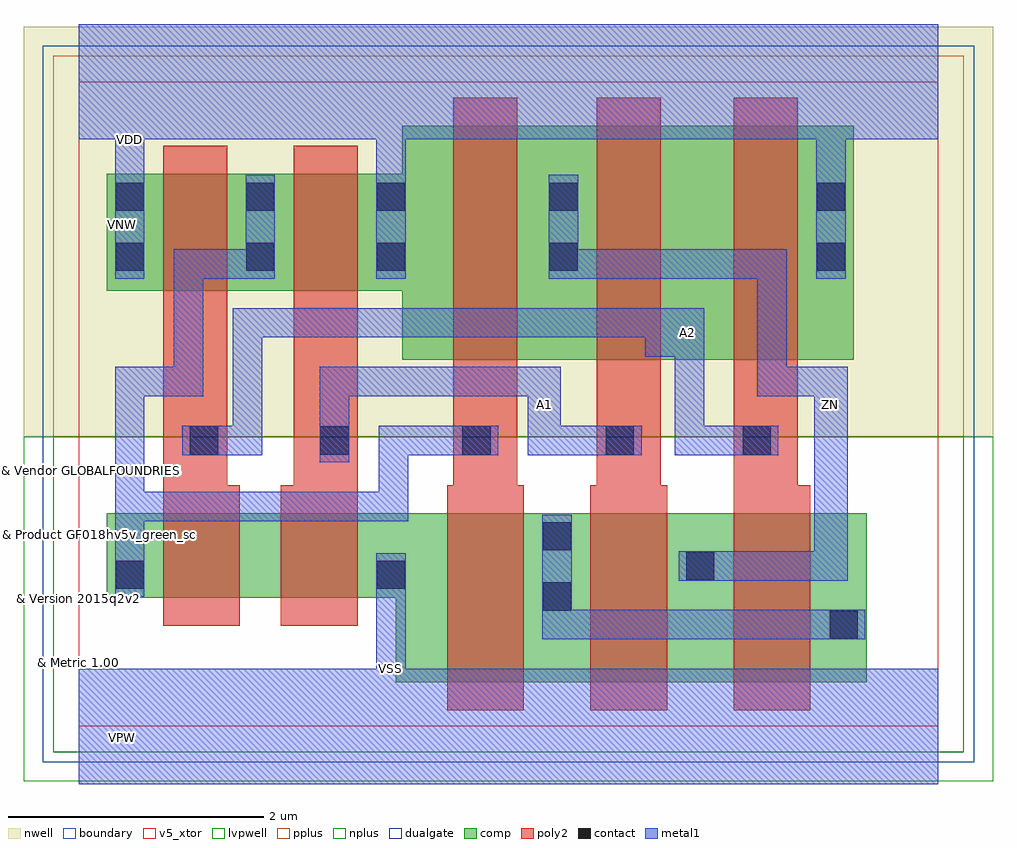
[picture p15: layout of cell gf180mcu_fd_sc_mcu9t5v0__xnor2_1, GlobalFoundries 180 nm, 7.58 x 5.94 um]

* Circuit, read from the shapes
.subckt gf180mcu_fd_sc_mcu9t5v0__xnor2_1 A1 A2 VDD VNW VSS ZN
XM1 n1 A2 n2 VSUBS nfet_05v0 w=0.66u l=0.6u
XM2 VSS A1 n1 VSUBS nfet_05v0 w=0.66u l=0.6u
XM3 n3 n2 VSS VSUBS nfet_05v0 w=1.32u l=0.6u
XM4 ZN A1 n3 VSUBS nfet_05v0 w=1.32u l=0.6u
XM5 n3 A2 ZN VSUBS nfet_05v0 w=1.32u l=0.6u
XM6 n2 A2 VDD VNW pfet_05v0 w=0.915u l=0.5u
XM7 VDD A1 n2 VNW pfet_05v0 w=0.915u l=0.5u
XM8 ZN n2 VDD VNW pfet_05v0 w=1.83u l=0.5u
XM9 n4 A1 ZN VNW pfet_05v0 w=1.83u l=0.5u
XM10 VDD A2 n4 VNW pfet_05v0 w=1.83u l=0.5u
.ends

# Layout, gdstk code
import gdstk
lib = gdstk.Library(unit=1e-6, precision=5e-10)
def R(c, l, rs):  # rectangles x0, y0, x1, y1
    for r in rs: c.add(gdstk.rectangle(r[:2], r[2:], *l))
def A(c, l, x, y, w, h, nx, ny, dx, dy):  # array of equal rectangles
    R(c, l, [(x+i*dx, y+j*dy, x+i*dx+w, y+j*dy+h) for i in range(nx) for j in range(ny)])
def P(c, l, *ps):  # polygons
    for p in ps: c.add(gdstk.Polygon(p, *l))
boundary = (0, 0)
nwell = (21, 0)
comp = (22, 0)
poly2 = (30, 0)
pplus = (31, 0)
nplus = (32, 0)
contact = (33, 0)
metal1 = (34, 0)
dualgate = (55, 0)
v5_xtor = (112, 1)
lvpwell = (204, 0)

gf180mcu_fd_sc_mcu9t5v0_ = lib.new_cell('gf180mcu_fd_sc_mcu9t5v0__xnor2_1')
R(gf180mcu_fd_sc_mcu9t5v0_, boundary, [(0,0,6.72,5.04)])
R(gf180mcu_fd_sc_mcu9t5v0_, nwell, [(-0.43,2.265,7.15,5.47)])
P(gf180mcu_fd_sc_mcu9t5v0_, comp, [(2.53,2.865),(2.53,3.405),(0.22,3.405),(0.22,4.32),(2.53,4.32),(2.53,4.695),(6.06,4.695),(6.06,2.865)],
  [(2.48,0.345),(2.48,1.005),(0.22,1.005),(0.22,1.665),(6.16,1.665),(6.16,0.345)])
P(gf180mcu_fd_sc_mcu9t5v0_, poly2, [(0.66,0.785),(0.66,4.54),(1.16,4.54),(1.16,1.885),(1.26,1.885),(1.26,0.785)],
  [(1.58,0.785),(1.58,1.885),(1.68,1.885),(1.68,4.54),(2.18,4.54),(2.18,0.785)],
  [(2.88,0.125),(2.88,1.885),(2.93,1.885),(2.93,4.915),(3.43,4.915),(3.43,1.885),(3.48,1.885),(3.48,0.125)],
  [(4,0.125),(4,1.885),(4.05,1.885),(4.05,4.915),(4.55,4.915),(4.55,1.885),(4.6,1.885),(4.6,0.125)],
  [(5.12,0.125),(5.12,4.915),(5.62,4.915),(5.62,1.885),(5.72,1.885),(5.72,0.125)])
R(gf180mcu_fd_sc_mcu9t5v0_, pplus, [(-0.2,2.265,6.92,5.24)])
R(gf180mcu_fd_sc_mcu9t5v0_, nplus, [(-0.2,-0.2,6.92,2.265)])
A(gf180mcu_fd_sc_mcu9t5v0_, contact, 0.29, 3.56, 0.22, 0.22, 3, 2, 1.02, 0.47)
R(gf180mcu_fd_sc_mcu9t5v0_, contact, [(5.87,0.685,6.09,0.905), (3.63,0.905,3.85,1.125), (0.29,1.075,0.51,1.295), (2.33,1.075,2.55,1.295), (4.75,1.145,4.97,1.365), (3.63,1.375,3.85,1.595), (0.87,2.125,1.09,2.345), (1.89,2.125,2.11,2.345), (3,2.125,3.22,2.345), (4.12,2.125,4.34,2.345), (5.19,2.125,5.41,2.345), (3.68,3.56,3.9,3.78), (5.77,3.56,5.99,3.78), (3.68,4.03,3.9,4.25), (5.77,4.03,5.99,4.25)])
P(gf180mcu_fd_sc_mcu9t5v0_, metal1, [(0.285,1.015),(0.285,2.81),(0.745,2.81),(0.745,3.73),(1.305,3.73),(1.305,4.31),(1.535,4.31),(1.535,3.5),(0.975,3.5),(0.975,2.58),(0.515,2.58),(0.515,1.835),(2.345,1.835),(2.345,2.35),(3.28,2.35),(3.28,2.12),(2.575,2.12),(2.575,1.605),(0.515,1.605),(0.515,1.015)],
  [(1.885,2.065),(1.885,2.81),(3.77,2.81),(3.77,2.35),(4.4,2.35),(4.4,2.12),(3.51,2.12),(3.51,2.58),(2.115,2.58),(2.115,2.065)],
  [(0.81,2.12),(0.81,2.35),(1.205,2.35),(1.205,3.27),(4.89,3.27),(4.89,2.35),(5.47,2.35),(5.47,2.12),(4.66,2.12),(4.66,2.89),(4.43,2.89),(4.43,3.04),(1.435,3.04),(1.435,2.12)],
  [(4.69,1.14),(4.69,1.37),(5.75,1.37),(5.75,2.58),(5.305,2.58),(5.305,3.5),(3.675,3.5),(3.675,4.31),(3.905,4.31),(3.905,3.73),(5.535,3.73),(5.535,2.81),(6.01,2.81),(6.01,1.14)],
  [(3.625,0.68),(3.625,1.655),(3.855,1.655),(3.855,0.91),(6.15,0.91),(6.15,0.68)],
  [(0,-0.45),(0,0.45),(2.325,0.45),(2.325,1.355),(2.555,1.355),(2.555,0.45),(6.72,0.45),(6.72,-0.45)],
  [(0.285,3.5),(0.285,4.59),(0,4.59),(0,5.49),(6.72,5.49),(6.72,4.59),(5.995,4.59),(5.995,3.5),(5.765,3.5),(5.765,4.59),(2.555,4.59),(2.555,3.5),(2.325,3.5),(2.325,4.59),(0.515,4.59),(0.515,3.5)])
R(gf180mcu_fd_sc_mcu9t5v0_, dualgate, [(-0.28,-0.28,7,5.32)])
R(gf180mcu_fd_sc_mcu9t5v0_, v5_xtor, [(0,0,6.72,5.04)])
R(gf180mcu_fd_sc_mcu9t5v0_, lvpwell, [(-0.43,-0.43,7.15,2.265)])
gf180mcu_fd_sc_mcu9t5v0_.add(gdstk.Label('A1', (3.64,2.52), layer=34, texttype=10))
gf180mcu_fd_sc_mcu9t5v0_.add(gdstk.Label('A2', (4.76,3.08), layer=34, texttype=10))
gf180mcu_fd_sc_mcu9t5v0_.add(gdstk.Label('VDD', (0.4,4.59), layer=34, texttype=10))
gf180mcu_fd_sc_mcu9t5v0_.add(gdstk.Label('VSS', (2.44,0.45), layer=34, texttype=10))
gf180mcu_fd_sc_mcu9t5v0_.add(gdstk.Label('ZN', (5.88,2.52), layer=34, texttype=10))
gf180mcu_fd_sc_mcu9t5v0_.add(gdstk.Label('& Vendor GLOBALFOUNDRIES', (0,2), layer=63, texttype=63))
gf180mcu_fd_sc_mcu9t5v0_.add(gdstk.Label('& Product GF018hv5v_green_sc9', (0,1.5), layer=63, texttype=63))
gf180mcu_fd_sc_mcu9t5v0_.add(gdstk.Label('& Version 2015q2v2', (0,1), layer=63, texttype=63))
gf180mcu_fd_sc_mcu9t5v0_.add(gdstk.Label('& Metric 1.00', (0,0.5), layer=63, texttype=63))
gf180mcu_fd_sc_mcu9t5v0_.add(gdstk.Label('VNW', (0.345,3.92), layer=21, texttype=10))
gf180mcu_fd_sc_mcu9t5v0_.add(gdstk.Label('VPW', (0.34,-0.085), layer=204, texttype=10))

lib.write_gds('gf180mcu_fd_sc_mcu9t5v0__xnor2_1.gds')
